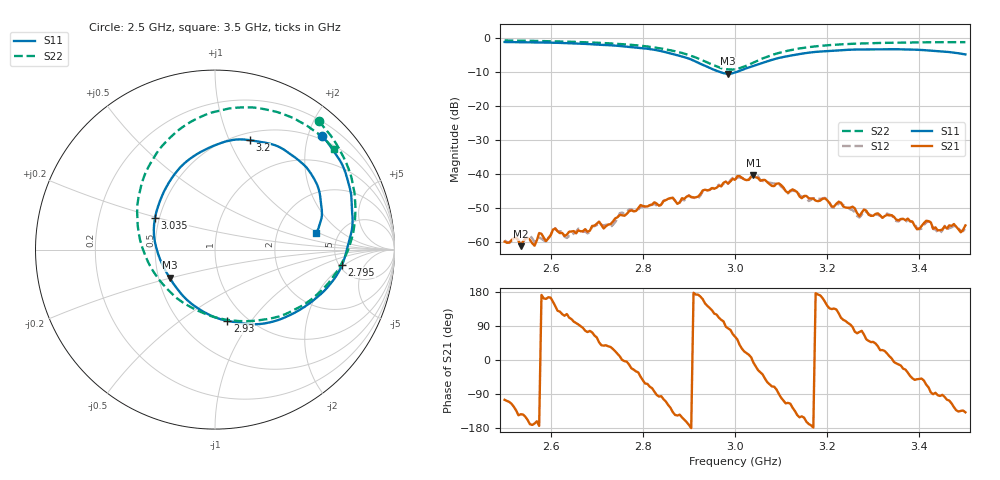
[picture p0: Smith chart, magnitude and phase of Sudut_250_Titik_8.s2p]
# Hz S RI R 50
! CMT, C1220, 16058040, 17.2.0/1
! Date: 15/08/2018 09:57:42
! Data: Format (Calibration Info)
! Freq  S11: Re/Im (F2)  S21: Re/Im (F2)  S12: Re/Im (F2)  S22: Re/Im (F2)
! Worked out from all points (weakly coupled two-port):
!   201 points, 2.5 GHz to 3.5 GHz, reference 50 ohm
!   highest |S21| = -40.33 dB at 3.04 GHz (marker M1); lowest = -61.2 dB at 2.535 GHz (marker M2)
!   lowest |S11| = -10.5 dB at 2.985 GHz (marker M3), VSWR 1.85, Z = 28.6 - j9.83 ohm
!   |S11| at or under -10 dB: 2.967 GHz to 3.003 GHz (35.93 MHz wide, 1.2 % of centre)
!   |S22| runs from -9.3 to -0.7 dB; largest |S21 - S12| = 0.00074
!   S11 on the Smith chart (normalised r, x): 2.5 GHz: 0.43, +2.25; 2.795 GHz: 5.34, -1.81; 2.93 GHz: 0.82, -0.78; 3.035 GHz: 0.47, +0.19; 3.2 GHz: 0.58, +1.19; 3.5 GHz: 3.40, +0.94
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2.5e9  0.5979 0.633  -0.000264 -0.000986  -0.00029 -0.00103  0.5774 0.7138
2.535e9  0.6392 0.5806  -0.000701 -0.000524  -0.000763 -0.000497  0.616 0.6708
2.55e9  0.6528 0.5605  -0.00108 -0.000429  -0.00111 -0.000495  0.6328 0.6515
2.565e9  0.6692 0.5373  -0.000869 -0.00019  -0.00101 -5.07e-05  0.6482 0.6305
2.575e9  0.6816 0.5194  -0.00136 -0.000147  -0.00118 4.5e-05  0.6593 0.6147
2.59e9  0.6979 0.4934  -0.000984 0.000334  -0.000994 0.000205  0.6739 0.5923
2.61e9  0.7156 0.458  -0.00125 0.000975  -0.00128 0.000976  0.6934 0.5579
2.635e9  0.7357 0.399  -0.000671 0.0011  -0.00049 0.00105  0.7168 0.5137
2.67e9  0.7568 0.3162  0.000134 0.00145  0.000237 0.0014  0.7477 0.4407
2.795e9  0.7084 -0.0834  0.00253 -0.00244  0.00235 -0.00232  0.7654 0.0737
2.835e9  0.6089 -0.2295  -0.000383 -0.00342  -0.000191 -0.00327  0.7033 -0.0811
2.93e9  0.0695 -0.397  -0.00544 0.00192  -0.00536 0.00161  0.2519 -0.3927
2.985e9  -0.2531 -0.1567  0.000822 0.00721  0.000539 0.00724  -0.1744 -0.2979
3e9  -0.3061 -0.0546  0.00396 0.00725  0.00423 0.00705  -0.2753 -0.2101
3.035e9  -0.3343 0.1757  0.00913 0.00117  0.00909 0.00136  -0.417 0.0518
3.04e9  -0.3273 0.2076  0.00956 -0.00116  0.00978 -0.000808  -0.4253 0.0931
3.17e9  0.0984 0.6108  -0.00435 -0.000124  -0.00442 -0.000478  -0.073 0.7425
3.2e9  0.1935 0.6094  -0.00333 0.00248  -0.00332 0.00269  0.039 0.7774
3.27e9  0.3827 0.5581  0.000671 0.00233  0.000555 0.00224  0.2608 0.785
3.335e9  0.5094 0.458  0.00244 0.000437  0.00254 0.000289  0.4139 0.742
3.395e9  0.5748 0.3454  0.00098 -0.0012  0.000921 -0.00133  0.5221 0.6835
3.5e9  0.5653 0.0933  -0.00131 -0.00118  -0.00124 -0.00101  0.6626 0.5599
